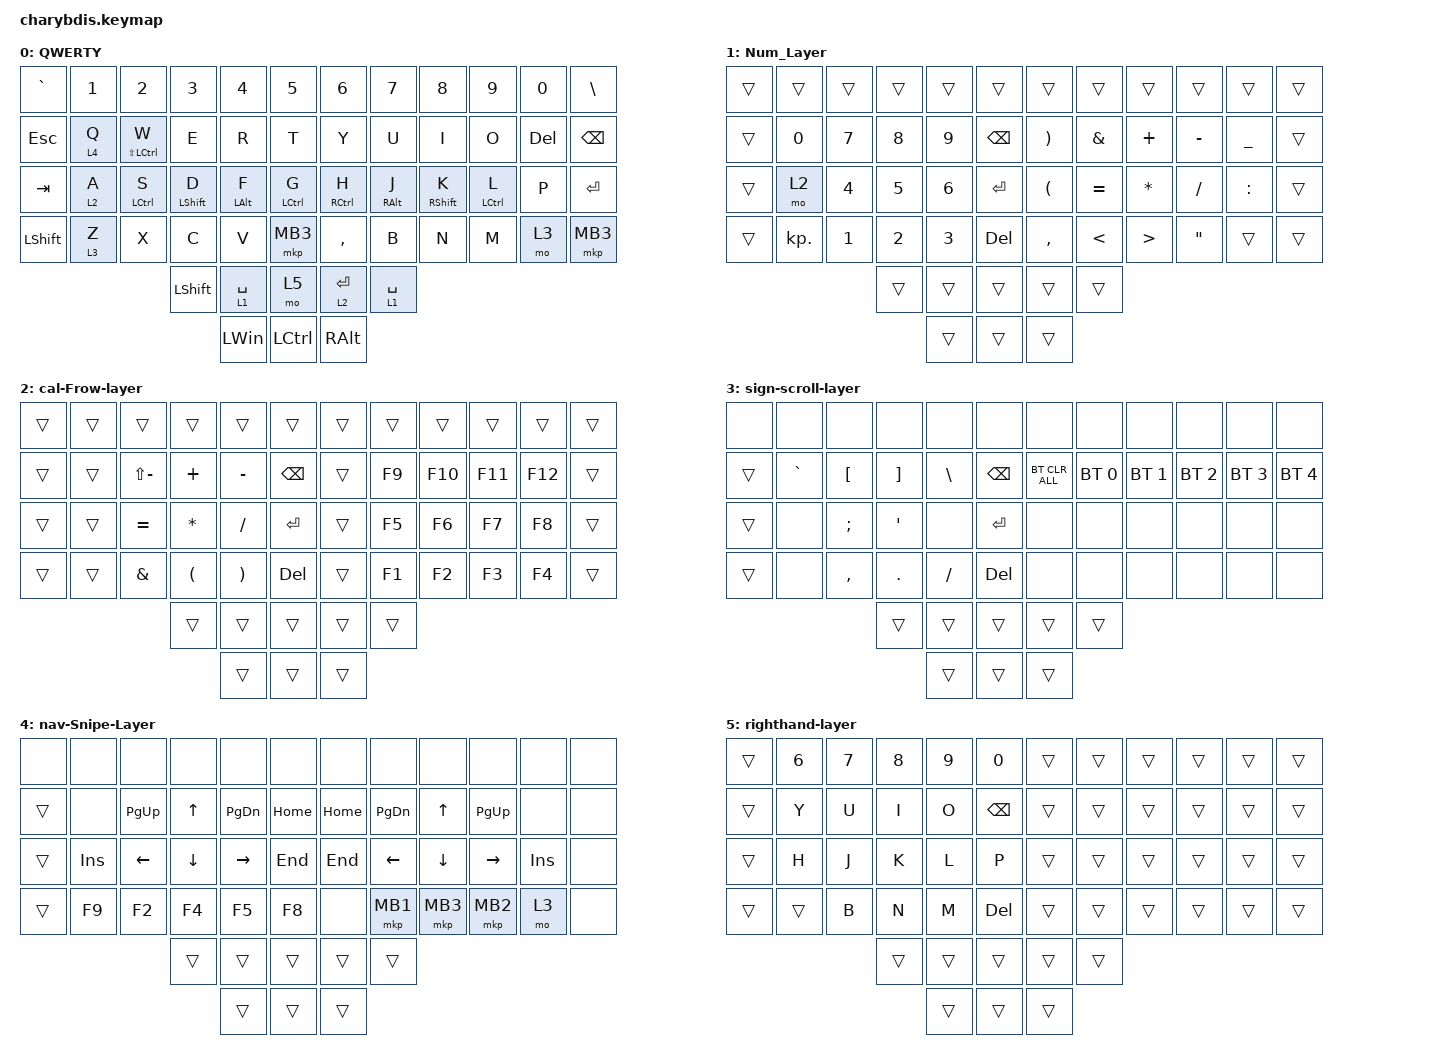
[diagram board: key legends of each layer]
#include <behaviors.dtsi>
#include <dt-bindings/zmk/bt.h>
#include <dt-bindings/zmk/keys.h>
#include <dt-bindings/zmk/pointing.h>
#include <dt-bindings/zmk/rgb.h>

&lt { require-prior-idle-ms = <100>; };

&mt {
    flavor = "tap-preferred";
    require-prior-idle-ms = <100>;
};

/ {
    macros {
        To1_macro: To1_macro {
            compatible = "zmk,behavior-macro";
            label = "To1_macro";
            #binding-cells = <0>;
            bindings = <&rgb_ug RGB_EFF &rgb_ug RGB_COLOR_HSB(128,100,50) &to 1>;
        };

        To0_macro: To0_macro {
            compatible = "zmk,behavior-macro";
            label = "To0_macro";
            #binding-cells = <0>;
            bindings = <&rgb_ug RGB_EFR &to 0>;
        };

        To2_macro: To2_macro {
            compatible = "zmk,behavior-macro";
            label = "To2_macro";
            #binding-cells = <0>;
            bindings =
                <&to 2>,
                <&macro_wait_time 30>,
                <&rgb_ug RGB_COLOR_HSB(250,100,50)>;
        };
    };

    combos {
        compatible = "zmk,combos";

        cb_esc {
            bindings = <&kp ESCAPE>;
            key-positions = <16 15>;
            require-prior-idle-ms = <150>;
            layers = <0>;
        };

        cb_mouseleft_a {
            bindings = <&mkp MB1>;
            key-positions = <40 39>;
            require-prior-idle-ms = <150>;
            layers = <0>;
        };

        cb_mouseright_a {
            bindings = <&mkp MB2>;
            key-positions = <40 38>;
            require-prior-idle-ms = <150>;
            layers = <0>;
        };

        cb_mouseleft_b {
            bindings = <&mkp MB1>;
            key-positions = <43 44>;
            require-prior-idle-ms = <150>;
            layers = <0>;
        };

        cb_mouseright_b {
            bindings = <&mkp MB2>;
            key-positions = <43 45>;
            require-prior-idle-ms = <150>;
            layers = <0>;
        };
    };

    keymap {
        compatible = "zmk,keymap";

        QWERTY {
            bindings = <
&kp GRAVE       &kp NUMBER_1  &kp NUMBER_2            &kp NUMBER_3      &kp NUMBER_4    &kp N5                &kp N6               &kp N7           &kp N8             &kp N9       &kp N0      &kp BACKSLASH
&kp ESC         &lt 4 Q       &mt LS(LEFT_CONTROL) W  &kp E             &kp R           &kp T                 &kp Y                &kp U            &kp I              &kp O        &kp DELETE  &kp BACKSPACE
&kp TAB         &lt 2 A       &mt LEFT_CONTROL S      &mt LEFT_SHIFT D  &mt LEFT_ALT F  &mt LEFT_CONTROL G    &mt RIGHT_CONTROL H  &mt RIGHT_ALT J  &mt RIGHT_SHIFT K  &mt LCTRL L  &kp P       &kp ENTER
&kp LEFT_SHIFT  &lt 3 Z       &kp X                   &kp C             &kp V           &mkp MB3              &kp COMMA            &kp B            &kp N              &kp M        &mo 3       &mkp MB3
                                                      &kp LEFT_SHIFT    &lt 1 SPACE     &mo 5                 &lt 2 ENTER          &lt 1 SPACE
                                                                        &kp LEFT_WIN    &kp LCTRL             &kp RIGHT_ALT
            >;
        };

        Num_Layer {
            bindings = <
&trans  &trans      &trans        &trans        &trans        &trans           &trans                 &trans         &trans            &trans             &trans     &trans
&trans  &kp N0      &kp N7        &kp N8        &kp N9        &kp BACKSPACE    &kp RIGHT_PARENTHESIS  &kp AMPERSAND  &kp PLUS          &kp MINUS          &kp UNDER  &trans
&trans  &mo 2       &kp NUMBER_4  &kp NUMBER_5  &kp NUMBER_6  &kp ENTER        &kp LEFT_PARENTHESIS   &kp EQUAL      &kp ASTERISK      &kp SLASH          &kp COLON  &trans
&trans  &kp KP_DOT  &kp NUMBER_1  &kp NUMBER_2  &kp NUMBER_3  &kp DELETE       &kp COMMA              &kp LESS_THAN  &kp GREATER_THAN  &kp DOUBLE_QUOTES  &trans     &trans
                                  &trans        &trans        &trans           &trans                 &trans
                                                &trans        &trans           &trans
            >;
        };

        cal-Frow-layer {
            bindings = <
&trans  &trans  &trans         &trans                &trans                 &trans           &trans  &trans  &trans   &trans   &trans   &trans
&trans  &trans  &kp LS(MINUS)  &kp PLUS              &kp MINUS              &kp BACKSPACE    &trans  &kp F9  &kp F10  &kp F11  &kp F12  &trans
&trans  &trans  &kp EQUAL      &kp ASTRK             &kp SLASH              &kp ENTER        &trans  &kp F5  &kp F6   &kp F7   &kp F8   &trans
&trans  &trans  &kp AMPERSAND  &kp LEFT_PARENTHESIS  &kp RIGHT_PARENTHESIS  &kp DELETE       &trans  &kp F1  &kp F2   &kp F3   &kp F4   &trans
                               &trans                &trans                 &trans           &trans  &trans
                                                     &trans                 &trans           &trans
            >;
        };

        sign-scroll-layer {
            bindings = <
&none   &none      &none             &none              &none          &none            &none           &none         &none         &none         &none         &none
&trans  &kp GRAVE  &kp LEFT_BRACKET  &kp RIGHT_BRACKET  &kp BACKSLASH  &kp BACKSPACE    &bt BT_CLR_ALL  &bt BT_SEL 0  &bt BT_SEL 1  &bt BT_SEL 2  &bt BT_SEL 3  &bt BT_SEL 4
&trans  &none      &kp SEMICOLON     &kp SINGLE_QUOTE   &none          &kp ENTER        &none           &none         &none         &none         &none         &none
&trans  &none      &kp COMMA         &kp PERIOD         &kp SLASH      &kp DELETE       &none           &none         &none         &none         &none         &none
                                     &trans             &trans         &trans           &trans          &trans
                                                        &trans         &trans           &trans
            >;
        };

        nav-Snipe-Layer {
            bindings = <
&none   &none       &none        &none         &none          &none       &none     &none          &none     &none        &none       &none
&trans  &none       &kp PAGE_UP  &kp UP_ARROW  &kp PAGE_DOWN  &kp HOME    &kp HOME  &kp PAGE_DOWN  &kp UP    &kp PAGE_UP  &none       &none
&trans  &kp INSERT  &kp LEFT     &kp DOWN      &kp RIGHT      &kp END     &kp END   &kp LEFT       &kp DOWN  &kp RIGHT    &kp INSERT  &none
&trans  &kp F9      &kp F2       &kp F4        &kp F5         &kp F8      &none     &mkp MB1       &mkp MB3  &mkp MB2     &mo 3       &none
                                 &trans        &trans         &trans      &trans    &trans
                                               &trans         &trans      &trans
            >;
        };

        righthand-layer {
            bindings = <
&trans  &kp NUMBER_6  &kp N7  &kp N8  &kp N9  &kp N0           &trans  &trans  &trans  &trans  &trans  &trans
&trans  &kp Y         &kp U   &kp I   &kp O   &kp BACKSPACE    &trans  &trans  &trans  &trans  &trans  &trans
&trans  &kp H         &kp J   &kp K   &kp L   &kp P            &trans  &trans  &trans  &trans  &trans  &trans
&trans  &trans        &kp B   &kp N   &kp M   &kp DEL          &trans  &trans  &trans  &trans  &trans  &trans
                              &trans  &trans  &trans           &trans  &trans
                                      &trans  &trans           &trans
            >;
        };
    };
};
